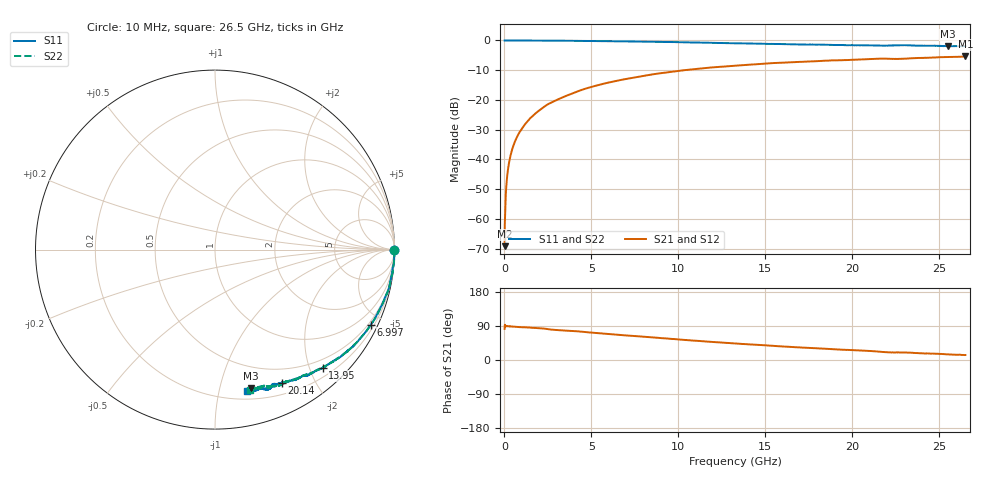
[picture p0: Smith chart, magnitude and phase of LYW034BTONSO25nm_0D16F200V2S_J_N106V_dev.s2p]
!Keysight Technologies,N5222B,MY61253708,A.15.00.15
!Date: Wednesday, June 19, 2024 09:41:41
!Correction: S11(C  2-Port  )
!S21(C  2-Port  )
!S12(C  2-Port  )
!S22(C  2-Port  )
!S2P File: Measurements: S11, S21, S12, S22:
# Hz S  RI  R 50
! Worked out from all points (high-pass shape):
!   2651 points, 10 MHz to 26.5 GHz, reference 50 ohm
!   highest |S21| = -5.39 dB at 26.5 GHz (marker M1); lowest = -69.2 dB at 10 MHz (marker M2)
!   |S21| within 3 dB of the highest: 13.44 GHz to end of sweep
!   lowest |S11| = -2.0 dB at 25.5 GHz (marker M3), VSWR 8.85, Z = 14.8 - j62.4 ohm
!   |S11| at or under -10 dB: nowhere
!   |S22| runs from -1.9 to 0.0 dB; largest |S21 - S12| = 0.0066
!   S11 on the Smith chart (normalised r, x): 10 MHz: open; 6.997 GHz: 0.37, -4.36; 13.95 GHz: 0.35, -2.22; 20.14 GHz: 0.33, -1.57; 26.5 GHz: 0.27, -1.22
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1e7  0.9984 -0.00246  4.77e-05 0.000343  -0.0001 0.000226  0.9984 -0.00151
7.997358e7  1 -0.00573  3.13e-05 0.00265  5.23e-06 0.00273  0.9993 -0.00526
1.499472e8  1 -0.0109  5.65e-05 0.00498  5.06e-05 0.00501  0.9995 -0.0103
1.899321e8  1 -0.0128  0.000114 0.00628  9.3e-05 0.00635  0.9997 -0.0121
2.499094e8  0.9996 -0.0173  0.000143 0.00828  0.000139 0.00835  0.9993 -0.0165
3.498717e8  0.9996 -0.024  0.000269 0.0116  0.000276 0.0117  0.9994 -0.0231
4.698264e8  0.9989 -0.0321  0.000515 0.0155  0.000457 0.0157  0.9986 -0.0312
6.29766e8  0.9988 -0.0422  0.000875 0.0208  0.000885 0.021  0.9985 -0.0417
8.196943e8  0.998 -0.0548  0.00145 0.0269  0.00144 0.0272  0.9976 -0.054
1.43946e9  0.9907 -0.0971  0.00337 0.0475  0.00348 0.0478  0.993 -0.0941
2.329125e9  0.9818 -0.1518  0.00998 0.0778  0.0102 0.0784  0.9829 -0.1527
3.198796e9  0.971 -0.2072  0.0211 0.1039  0.0213 0.1046  0.9703 -0.2072
4.428332e9  0.9423 -0.2808  0.0386 0.1418  0.0391 0.1427  0.9436 -0.2787
6.997362e9  0.8687 -0.4179  0.0957 0.2039  0.0972 0.2048  0.8696 -0.4189
8.846664e9  0.8023 -0.5024  0.1455 0.2368  0.1472 0.2375  0.8028 -0.5016
1.3255e10  0.6261 -0.6422  0.2729 0.2606  0.2755 0.2603  0.6282 -0.6412
1.395474e10  0.5997 -0.6588  0.2918 0.2584  0.2934 0.2587  0.6005 -0.6578
1.767333e10  0.454 -0.7212  0.379 0.2325  0.3826 0.2306  0.4627 -0.7185
2.01424e10  0.3707 -0.7436  0.4279 0.2068  0.4312 0.2033  0.3837 -0.7451
2.209166e10  0.3188 -0.7536  0.4614 0.1702  0.4633 0.167  0.3113 -0.7592
2.550038e10  0.1999 -0.7714  0.5104 0.1337  0.5119 0.133  0.2191 -0.7733
2.65e10  0.1805 -0.7856  0.5237 0.1224  0.5233 0.1184  0.1928 -0.7829
